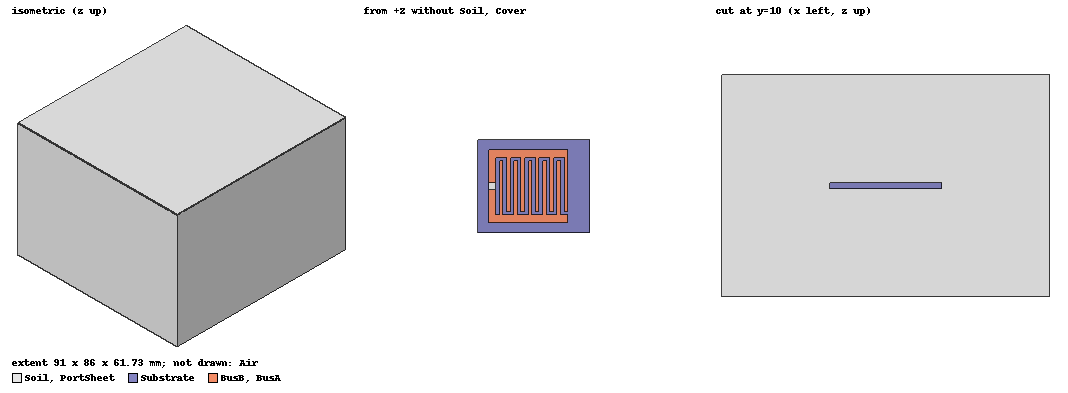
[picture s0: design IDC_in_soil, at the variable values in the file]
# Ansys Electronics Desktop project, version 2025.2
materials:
  vacuum: permittivity=1
  LeakMark_soil: permittivity=25 permeability=1 conductivity=0.1
  copper: permeability=0.999991 conductivity=58000000
  FR4_epoxy: permittivity=4.4 dielectric_loss_tangent=0.02
  polyethylene: permittivity=2.25 dielectric_loss_tangent=0.001

design IDC_in_soil (HFSS, HFSS Modal Network, model units mm)
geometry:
  BusA [copper] = box(corner=(-3mm, 0mm, 0mm), size=(22mm, 2mm, 0.035mm))
  TabA = box(corner=(-3mm, 0mm, 0mm), size=(2mm, 9mm, 0.035mm))
  BusB [copper] = box(corner=(-3mm, 18mm, 0mm), size=(22mm, 2mm, 0.035mm))
  TabB = box(corner=(-3mm, 11mm, 0mm), size=(2mm, 9mm, 0.035mm))
  FingerA0 = box(corner=(0mm, 2mm, 0mm), size=(1mm, 15mm, 0.035mm))
  FingerB0 = box(corner=(2mm, 3mm, 0mm), size=(1mm, 15mm, 0.035mm))
  FingerA1 = box(corner=(4mm, 2mm, 0mm), size=(1mm, 15mm, 0.035mm))
  FingerB1 = box(corner=(6mm, 3mm, 0mm), size=(1mm, 15mm, 0.035mm))
  FingerA2 = box(corner=(8mm, 2mm, 0mm), size=(1mm, 15mm, 0.035mm))
  FingerB2 = box(corner=(10mm, 3mm, 0mm), size=(1mm, 15mm, 0.035mm))
  FingerA3 = box(corner=(12mm, 2mm, 0mm), size=(1mm, 15mm, 0.035mm))
  FingerB3 = box(corner=(14mm, 3mm, 0mm), size=(1mm, 15mm, 0.035mm))
  FingerA4 = box(corner=(16mm, 2mm, 0mm), size=(1mm, 15mm, 0.035mm))
  FingerB4 = box(corner=(18mm, 3mm, 0mm), size=(1mm, 15mm, 0.035mm))
  BusA.unite(TabA, FingerA0..FingerA4)
  BusB.unite(TabB, FingerB0..FingerB4)
  Substrate [FR4_epoxy] = box(corner=(-6mm, -3mm, -1.6mm), size=(31mm, 26mm, 1.6mm))
  Cover [polyethylene] = box(corner=(-6mm, -3mm, 0mm), size=(31mm, 26mm, 0.135mm))
  BusA_1 = BusA.copy()
  BusB_1 = BusB.copy()
  Cover.subtract(BusA_1, BusB_1)
  Soil [LeakMark_soil] = box(corner=(-36mm, -33mm, -31.6mm), size=(91mm, 86mm, 61.735mm))
  Substrate_1 = Substrate.copy()
  Cover_1 = Cover.copy()
  BusA_2 = BusA.copy()
  BusB_2 = BusB.copy()
  Soil.subtract(Substrate_1, Cover_1, BusA_2, BusB_2)
  Air [vacuum] = box(corner=(-56mm, -53mm, -51.6mm), size=(131mm, 126mm, 101.735mm))
  Soil_1 = Soil.copy()
  Substrate_2 = Substrate.copy()
  Cover_2 = Cover.copy()
  BusA_3 = BusA.copy()
  BusB_3 = BusB.copy()
  Air.subtract(Soil_1, Substrate_2, Cover_2, BusA_3, BusB_3)
  PortSheet = rectangle(corner=(-3mm, 9mm, 0mm), x_size=2mm, y_size=2mm)
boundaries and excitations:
  Rad_outer: Radiation Faces=Air.face(+z, -y, -x, +y, -z, +x)
  P1: Lumped Port Objects=PortSheet LumpedPortType=Modal Modes{Mode1{IntLine{(-2, 9, 0) -> (-2, 11, 0)} CharImp=Zpi RenormImp=50ohm}} Impedance=50ohm
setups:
  Setup1: HfssDriven Frequency=100MHz MaxDeltaS=0.005 MaximumPasses=25 MinimumPasses=3 MinimumConvergedPasses=2 PercentRefinement=30 BasisOrder=1 PortAccuracy=2 DrivenSolverType="Direct Solver"
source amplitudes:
  P1:1: 1W 0deg
